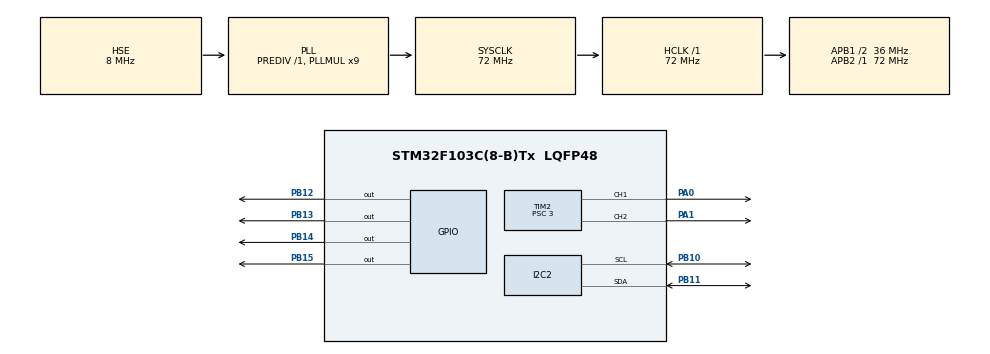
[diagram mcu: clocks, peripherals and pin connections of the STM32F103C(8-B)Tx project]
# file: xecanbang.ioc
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Mcu.Family=STM32F1
Mcu.Name=STM32F103C(8-B)Tx
Mcu.Package=LQFP48
NVIC.PriorityGroup=NVIC_PRIORITYGROUP_4
PA0-WKUP.Signal=S_TIM2_CH1_ETR
PA1.Signal=S_TIM2_CH2
PA13.Mode=Serial_Wire
PA13.Signal=SYS_JTMS-SWDIO
PA14.Mode=Serial_Wire
PA14.Signal=SYS_JTCK-SWCLK
PA2.Signal=USART2_TX
PA3.Signal=USART2_RX
PB10.Mode=I2C
PB10.Signal=I2C2_SCL
PB11.Mode=I2C
PB11.Signal=I2C2_SDA
PB12.Signal=GPIO_Output
PB13.Signal=GPIO_Output
PB14.Signal=GPIO_Output
PB15.Signal=GPIO_Output
PB6.Signal=I2C1_SCL
PB7.Signal=I2C1_SDA
PD0-OSC_IN.Mode=HSE-External-Oscillator
PD0-OSC_IN.Signal=RCC_OSC_IN
PD1-OSC_OUT.Mode=HSE-External-Oscillator
PD1-OSC_OUT.Signal=RCC_OSC_OUT
ProjectManager.HeapSize=0x200
ProjectManager.StackSize=0x400
ProjectManager.TargetToolchain=EWARM V8.32
RCC.AHBFreq_Value=72000000
RCC.APB1CLKDivider=RCC_HCLK_DIV2
RCC.APB1Freq_Value=36000000
RCC.APB1TimFreq_Value=72000000
RCC.APB2Freq_Value=72000000
RCC.APB2TimFreq_Value=72000000
RCC.HCLKFreq_Value=72000000
RCC.PLLMUL=RCC_PLL_MUL9
RCC.PLLSourceVirtual=RCC_PLLSOURCE_HSE
RCC.SYSCLKFreq_VALUE=72000000
RCC.SYSCLKSource=RCC_SYSCLKSOURCE_PLLCLK
RCC.USBFreq_Value=72000000
SH.S_TIM2_CH1_ETR.0=TIM2_CH1,PWM Generation1 CH1
SH.S_TIM2_CH2.0=TIM2_CH2,PWM Generation2 CH2
TIM2.Channel-PWM\ Generation1\ CH1=TIM_CHANNEL_1
TIM2.Channel-PWM\ Generation2\ CH2=TIM_CHANNEL_2
TIM2.Period=999
TIM2.Prescaler=3
board=custom

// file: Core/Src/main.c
/* USER CODE BEGIN Header */
/**
  ******************************************************************************
  * @file           : main.c
  * @brief          : Main program body
  ******************************************************************************
  * @attention
  *
  * Copyright (c) 2026 STMicroelectronics.
  * All rights reserved.
  *
  * This software is licensed under terms that can be found in the LICENSE file
  * in the root directory of this software component.
  * If no LICENSE file comes with this software, it is provided AS-IS.
  *
  ******************************************************************************
  */
/* USER CODE END Header */

#include "main.h"

/* USER CODE BEGIN Includes */
#include <math.h>
/* USER CODE END Includes */

/* USER CODE BEGIN PD */

// AD0 nối GND: 0x68; AD0 nối 3V3: 0x69
#define MPU_ADDR       (0x68U << 1)
#define RAD_TO_DEG     57.2957795f

// Bắt đầu phản ứng khi góc đạt +5 hoặc -5 độ
#define REACT_ANGLE    5.0f

// Dừng khi xe nghiêng quá 35 độ
#define FALL_ANGLE     35.0f

// Đổi thành -1.0f nếu cả hai motor đẩy sai hướng
#define CONTROL_SIGN   1.0f

// PID ban đầu, cần chỉnh theo xe thực tế
#define KP             8.0f
#define KI             0.0f
#define KD             0.25f

/* USER CODE END PD */

I2C_HandleTypeDef hi2c2;
TIM_HandleTypeDef htim2;

/* USER CODE BEGIN PV */

// Có thể xem các biến này bằng debugger ST-LINK
volatile float gocX = 0.0f;
volatile float tocDoGocX = 0.0f;

// Lệnh motor: -255 đến +255
volatile int16_t lenhMotor = 0;

// 0: đang cân chỉnh
// 1: đang hoạt động
// 2: xe nghiêng quá mức
// 3: lỗi MPU/I2C
// 4: vòng điều khiển bị trễ
volatile uint8_t trangThai = 0;

static float angleOffset = 0.0f;
static float gyroBias = 0.0f;
static float integralError = 0.0f;

static uint32_t lastControlMs = 0;

/* USER CODE END PV */

void SystemClock_Config(void);
static void MX_GPIO_Init(void);
static void MX_I2C2_Init(void);
static void MX_TIM2_Init(void);

/* USER CODE BEGIN 0 */

static float Clamp(float x, float lo, float hi)
{
  if (x < lo) return lo;
  if (x > hi) return hi;
  return x;
}

static float WrapAngle(float x)
{
  while (x > 180.0f) {
    x -= 360.0f;
  }

  while (x < -180.0f) {
    x += 360.0f;
  }

  return x;
}

static void Motor_Stop(void)
{
  __HAL_TIM_SET_COMPARE(&htim2, TIM_CHANNEL_1, 0);
  __HAL_TIM_SET_COMPARE(&htim2, TIM_CHANNEL_2, 0);

  HAL_GPIO_WritePin(
    GPIOB,
    GPIO_PIN_12 | GPIO_PIN_13 | GPIO_PIN_14 | GPIO_PIN_15,
    GPIO_PIN_RESET
  );

  lenhMotor = 0;
}

static void Motor_Set(int16_t command)
{
  if (command > 255) command = 255;
  if (command < -255) command = -255;

  // Tạm tắt PWM trước khi đặt chiều
  __HAL_TIM_SET_COMPARE(&htim2, TIM_CHANNEL_1, 0);
  __HAL_TIM_SET_COMPARE(&htim2, TIM_CHANNEL_2, 0);

  if (command == 0) {
    Motor_Stop();
    return;
  }

  GPIO_PinState forward =
    command > 0 ? GPIO_PIN_SET : GPIO_PIN_RESET;

  GPIO_PinState reverse =
    command > 0 ? GPIO_PIN_RESET : GPIO_PIN_SET;

  // Motor trái
  HAL_GPIO_WritePin(GPIOB, GPIO_PIN_12, forward); // IN1
  HAL_GPIO_WritePin(GPIOB, GPIO_PIN_13, reverse); // IN2

  // Motor phải: chiều đã sửa bằng phần cứng
  HAL_GPIO_WritePin(GPIOB, GPIO_PIN_14, forward); // IN3
  HAL_GPIO_WritePin(GPIOB, GPIO_PIN_15, reverse); // IN4

  uint32_t magnitude =
    (uint32_t)(command < 0 ? -command : command);

  // Đổi thang lệnh 0..255 sang PWM 0..999
  uint32_t pwm = magnitude * 999U / 255U;

  __HAL_TIM_SET_COMPARE(&htim2, TIM_CHANNEL_1, pwm);
  __HAL_TIM_SET_COMPARE(&htim2, TIM_CHANNEL_2, pwm);

  lenhMotor = command;
}

static HAL_StatusTypeDef MPU_Write(uint8_t reg, uint8_t value)
{
  return HAL_I2C_Mem_Write(
    &hi2c2,
    MPU_ADDR,
    reg,
    I2C_MEMADD_SIZE_8BIT,
    &value,
    1,
    10
  );
}

static uint8_t MPU_Read(float *angle, float *rate)
{
  uint8_t raw[14];

  if (HAL_I2C_Mem_Read(
        &hi2c2,
        MPU_ADDR,
        0x3B,
        I2C_MEMADD_SIZE_8BIT,
        raw,
        14,
        10
      ) != HAL_OK) {
    return 0;
  }

  int16_t ay =
    (int16_t)(((uint16_t)raw[2] << 8) | raw[3]);

  int16_t az =
    (int16_t)(((uint16_t)raw[4] << 8) | raw[5]);

  int16_t gx =
    (int16_t)(((uint16_t)raw[8] << 8) | raw[9]);

  if (ay == 0 && az == 0) {
    return 0;
  }

  // Góc quanh trục X
  *angle = atan2f((float)ay, (float)az) * RAD_TO_DEG;

  // Gyro được cấu hình ±500 độ/s
  *rate = (float)gx / 65.5f;

  return 1;
}

static uint8_t MPU_StartAndCalibrate(void)
{
  uint8_t id = 0;

  if (HAL_I2C_IsDeviceReady(
        &hi2c2, MPU_ADDR, 3, 10
      ) != HAL_OK) {
    return 0;
  }

  // Kiểm tra WHO_AM_I
  if (HAL_I2C_Mem_Read(
        &hi2c2,
        MPU_ADDR,
        0x75,
        I2C_MEMADD_SIZE_8BIT,
        &id,
        1,
        10
      ) != HAL_OK) {
    return 0;
  }

  if (id != 0x68) {
    return 0;
  }

  // Reset MPU
  if (MPU_Write(0x6B, 0x80) != HAL_OK) {
    return 0;
  }

  HAL_Delay(100);

  // Đánh thức MPU, chọn clock PLL
  if (MPU_Write(0x6B, 0x01) != HAL_OK) return 0;

  // Bộ lọc khoảng 21 Hz
  if (MPU_Write(0x1A, 0x04) != HAL_OK) return 0;

  // Tần số lấy mẫu: 1000 / (1 + 3) = 250 Hz
  if (MPU_Write(0x19, 0x03) != HAL_OK) return 0;

  // Gyro ±500 độ/s
  if (MPU_Write(0x1B, 0x08) != HAL_OK) return 0;

  // Gia tốc ±2g
  if (MPU_Write(0x1C, 0x00) != HAL_OK) return 0;

  HAL_Delay(200);

  // Giữ xe thẳng và yên khoảng 3 giây
  float sumSin = 0.0f;
  float sumCos = 0.0f;
  float sumRate = 0.0f;

  for (uint16_t i = 0; i < 400; ++i) {
    float angle;
    float rate;

    if (!MPU_Read(&angle, &rate)) {
      return 0;
    }

    sumSin += sinf(angle / RAD_TO_DEG);
    sumCos += cosf(angle / RAD_TO_DEG);
    sumRate += rate;

    HAL_Delay(5);
  }

  angleOffset = atan2f(sumSin, sumCos) * RAD_TO_DEG;
  gyroBias = sumRate / 400.0f;

  gocX = 0.0f;
  tocDoGocX = 0.0f;
  integralError = 0.0f;

  return 1;
}

/* USER CODE END 0 */

int main(void)
{

  /* MCU Configuration--------------------------------------------------------*/

  HAL_Init();

  SystemClock_Config();

  MX_GPIO_Init();
  MX_I2C2_Init();
  MX_TIM2_Init();

  /* USER CODE BEGIN 2 */

  Motor_Stop();

  if (HAL_TIM_PWM_Start(
        &htim2, TIM_CHANNEL_1
      ) != HAL_OK) {
    Error_Handler();
  }

  if (HAL_TIM_PWM_Start(
        &htim2, TIM_CHANNEL_2
      ) != HAL_OK) {
    Error_Handler();
  }

  if (MPU_StartAndCalibrate()) {
    trangThai = 1;
  } else {
    trangThai = 3;
    Motor_Stop();
  }

  lastControlMs = HAL_GetTick();

  /* USER CODE END 2 */

  /* Infinite loop */
  while (1)
  {

    /* USER CODE BEGIN 3 */

    // Sau lỗi hoặc ngã: dừng và đợi người dùng RESET
    if (trangThai != 1) {
      Motor_Stop();
      HAL_Delay(1);
      continue;
    }

    uint32_t now = HAL_GetTick();
    uint32_t elapsed = now - lastControlMs;

    // Điều khiển khoảng mỗi 4 ms
    if (elapsed < 4U) {
      continue;
    }

    lastControlMs = now;

    if (elapsed > 20U) {
      trangThai = 4;
      Motor_Stop();
      continue;
    }

    float dt = (float)elapsed * 0.001f;

    float accelAngle;
    float gyroRate;

    if (!MPU_Read(&accelAngle, &gyroRate)) {
      trangThai = 3;
      Motor_Stop();
      continue;
    }

    tocDoGocX = gyroRate - gyroBias;
    accelAngle = WrapAngle(accelAngle - angleOffset);

    // Dự đoán góc bằng gyro
    float prediction =
      WrapAngle(gocX + tocDoGocX * dt);

    // Bộ lọc bổ sung
    float alpha = 0.20f / (0.20f + dt);

    gocX = WrapAngle(
      prediction +
      (1.0f - alpha) * WrapAngle(accelAngle - prediction)
    );

    if (!isfinite(gocX) || !isfinite(tocDoGocX)) {
      trangThai = 3;
      Motor_Stop();
      continue;
    }

    if (fabsf(gocX) > FALL_ANGLE) {
      // Quá 35 độ: dừng, cần RESET để chạy lại
      trangThai = 2;
      integralError = 0.0f;
      Motor_Stop();

    } else if (fabsf(gocX) < REACT_ANGLE) {
      // Góc nhỏ hơn 5 độ: motor dừng
      integralError = 0.0f;
      Motor_Stop();

    } else {
      // Góc từ 5 đến 35 độ: điều khiển motor
      float error = -gocX;

      integralError += error * dt;
      integralError = Clamp(
        integralError, -50.0f, 50.0f
      );

      float output = CONTROL_SIGN * (
        KP * error +
        KI * integralError -
        KD * tocDoGocX
      );

      Motor_Set(
        (int16_t)Clamp(output, -255.0f, 255.0f)
      );
    }
  }
  /* USER CODE END 3 */
}

void SystemClock_Config(void)
{
  RCC_OscInitTypeDef RCC_OscInitStruct = {0};
  RCC_ClkInitTypeDef RCC_ClkInitStruct = {0};

  RCC_OscInitStruct.OscillatorType = RCC_OSCILLATORTYPE_HSE;
  RCC_OscInitStruct.HSEState = RCC_HSE_ON;
  RCC_OscInitStruct.HSEPredivValue = RCC_HSE_PREDIV_DIV1;
  RCC_OscInitStruct.HSIState = RCC_HSI_ON;

  RCC_OscInitStruct.PLL.PLLState = RCC_PLL_ON;
  RCC_OscInitStruct.PLL.PLLSource = RCC_PLLSOURCE_HSE;
  RCC_OscInitStruct.PLL.PLLMUL = RCC_PLL_MUL9;

  if (HAL_RCC_OscConfig(&RCC_OscInitStruct) != HAL_OK) {
    Error_Handler();
  }

  RCC_ClkInitStruct.ClockType =
    RCC_CLOCKTYPE_HCLK |
    RCC_CLOCKTYPE_SYSCLK |
    RCC_CLOCKTYPE_PCLK1 |
    RCC_CLOCKTYPE_PCLK2;

  RCC_ClkInitStruct.SYSCLKSource = RCC_SYSCLKSOURCE_PLLCLK;
  RCC_ClkInitStruct.AHBCLKDivider = RCC_SYSCLK_DIV1;
  RCC_ClkInitStruct.APB1CLKDivider = RCC_HCLK_DIV2;
  RCC_ClkInitStruct.APB2CLKDivider = RCC_HCLK_DIV1;

  if (HAL_RCC_ClockConfig(
        &RCC_ClkInitStruct, FLASH_LATENCY_2
      ) != HAL_OK) {
    Error_Handler();
  }
}

static void MX_I2C2_Init(void)
{
  /* USER CODE BEGIN I2C2_Init 0 */

  __HAL_RCC_GPIOB_CLK_ENABLE();
  __HAL_RCC_I2C2_CLK_ENABLE();

  GPIO_InitTypeDef pins = {0};

  // I2C2: PB10 = SCL, PB11 = SDA
  // Cần điện trở kéo lên 3V3, thường có sẵn trên module MPU
  pins.Pin = GPIO_PIN_10 | GPIO_PIN_11;
  pins.Mode = GPIO_MODE_AF_OD;
  pins.Pull = GPIO_NOPULL;
  pins.Speed = GPIO_SPEED_FREQ_HIGH;
  HAL_GPIO_Init(GPIOB, &pins);

  /* USER CODE END I2C2_Init 0 */

  hi2c2.Instance = I2C2;
  hi2c2.Init.ClockSpeed = 100000;
  hi2c2.Init.DutyCycle = I2C_DUTYCYCLE_2;
  hi2c2.Init.OwnAddress1 = 0;
  hi2c2.Init.AddressingMode = I2C_ADDRESSINGMODE_7BIT;
  hi2c2.Init.DualAddressMode = I2C_DUALADDRESS_DISABLE;
  hi2c2.Init.OwnAddress2 = 0;
  hi2c2.Init.GeneralCallMode = I2C_GENERALCALL_DISABLE;
  hi2c2.Init.NoStretchMode = I2C_NOSTRETCH_DISABLE;

  if (HAL_I2C_Init(&hi2c2) != HAL_OK) {
    Error_Handler();
  }

}

static void MX_TIM2_Init(void)
{
  /* USER CODE BEGIN TIM2_Init 0 */

  __HAL_RCC_TIM2_CLK_ENABLE();

  /* USER CODE END TIM2_Init 0 */

  TIM_MasterConfigTypeDef sMasterConfig = {0};
  TIM_OC_InitTypeDef sConfigOC = {0};

  htim2.Instance = TIM2;
  htim2.Init.Prescaler = 3;
  htim2.Init.CounterMode = TIM_COUNTERMODE_UP;
  htim2.Init.Period = 999;
  htim2.Init.ClockDivision = TIM_CLOCKDIVISION_DIV1;
  htim2.Init.AutoReloadPreload = TIM_AUTORELOAD_PRELOAD_DISABLE;

  if (HAL_TIM_PWM_Init(&htim2) != HAL_OK) {
    Error_Handler();
  }

  sMasterConfig.MasterOutputTrigger = TIM_TRGO_RESET;
  sMasterConfig.MasterSlaveMode = TIM_MASTERSLAVEMODE_DISABLE;

  if (HAL_TIMEx_MasterConfigSynchronization(
        &htim2, &sMasterConfig
      ) != HAL_OK) {
    Error_Handler();
  }

  sConfigOC.OCMode = TIM_OCMODE_PWM1;
  sConfigOC.Pulse = 0;
  sConfigOC.OCPolarity = TIM_OCPOLARITY_HIGH;
  sConfigOC.OCFastMode = TIM_OCFAST_DISABLE;

  if (HAL_TIM_PWM_ConfigChannel(
        &htim2, &sConfigOC, TIM_CHANNEL_1
      ) != HAL_OK) {
    Error_Handler();
  }

  if (HAL_TIM_PWM_ConfigChannel(
        &htim2, &sConfigOC, TIM_CHANNEL_2
      ) != HAL_OK) {
    Error_Handler();
  }

  HAL_TIM_MspPostInit(&htim2);
}

static void MX_GPIO_Init(void)
{
  GPIO_InitTypeDef GPIO_InitStruct = {0};

  __HAL_RCC_GPIOD_CLK_ENABLE();
  __HAL_RCC_GPIOA_CLK_ENABLE();
  __HAL_RCC_GPIOB_CLK_ENABLE();

  HAL_GPIO_WritePin(
    GPIOB,
    GPIO_PIN_12 | GPIO_PIN_13 | GPIO_PIN_14 | GPIO_PIN_15,
    GPIO_PIN_RESET
  );

  /*Configure GPIO pin : PA2 */
  GPIO_InitStruct.Pin = GPIO_PIN_2;
  GPIO_InitStruct.Mode = GPIO_MODE_AF_PP;
  GPIO_InitStruct.Speed = GPIO_SPEED_FREQ_HIGH;
  HAL_GPIO_Init(GPIOA, &GPIO_InitStruct);

  /*Configure GPIO pin : PA3 */
  GPIO_InitStruct.Pin = GPIO_PIN_3;
  GPIO_InitStruct.Mode = GPIO_MODE_INPUT;
  GPIO_InitStruct.Pull = GPIO_NOPULL;
  HAL_GPIO_Init(GPIOA, &GPIO_InitStruct);

  /*Configure GPIO pins : PB12 PB13 PB14 PB15 */
  GPIO_InitStruct.Pin =
    GPIO_PIN_12 | GPIO_PIN_13 | GPIO_PIN_14 | GPIO_PIN_15;

  GPIO_InitStruct.Mode = GPIO_MODE_OUTPUT_PP;
  GPIO_InitStruct.Pull = GPIO_NOPULL;
  GPIO_InitStruct.Speed = GPIO_SPEED_FREQ_LOW;
  HAL_GPIO_Init(GPIOB, &GPIO_InitStruct);

  /*Configure GPIO pins : PB6 PB7 */
  GPIO_InitStruct.Pin = GPIO_PIN_6 | GPIO_PIN_7;
  GPIO_InitStruct.Mode = GPIO_MODE_AF_OD;
  GPIO_InitStruct.Speed = GPIO_SPEED_FREQ_HIGH;
  HAL_GPIO_Init(GPIOB, &GPIO_InitStruct);

  /* USER CODE BEGIN MX_GPIO_Init_2 */

  // TIM2 không remap: CH1 = PA0, CH2 = PA1
  __HAL_RCC_AFIO_CLK_ENABLE();
  __HAL_AFIO_REMAP_TIM2_DISABLE();

  GPIO_InitStruct.Pin = GPIO_PIN_0 | GPIO_PIN_1;
  GPIO_InitStruct.Mode = GPIO_MODE_AF_PP;
  GPIO_InitStruct.Pull = GPIO_NOPULL;
  GPIO_InitStruct.Speed = GPIO_SPEED_FREQ_HIGH;
  HAL_GPIO_Init(GPIOA, &GPIO_InitStruct);

  /* USER CODE END MX_GPIO_Init_2 */
}

void Error_Handler(void)
{
  /* USER CODE BEGIN Error_Handler_Debug */

  // Đưa ENA/ENB về LOW nếu có lỗi khởi tạo
  __HAL_RCC_GPIOA_CLK_ENABLE();

  GPIO_InitTypeDef pins = {0};
  pins.Pin = GPIO_PIN_0 | GPIO_PIN_1;
  pins.Mode = GPIO_MODE_OUTPUT_PP;
  pins.Speed = GPIO_SPEED_FREQ_LOW;

  HAL_GPIO_Init(GPIOA, &pins);

  HAL_GPIO_WritePin(
    GPIOA,
    GPIO_PIN_0 | GPIO_PIN_1,
    GPIO_PIN_RESET
  );

  __disable_irq();

  while (1) {
  }

  /* USER CODE END Error_Handler_Debug */
}
